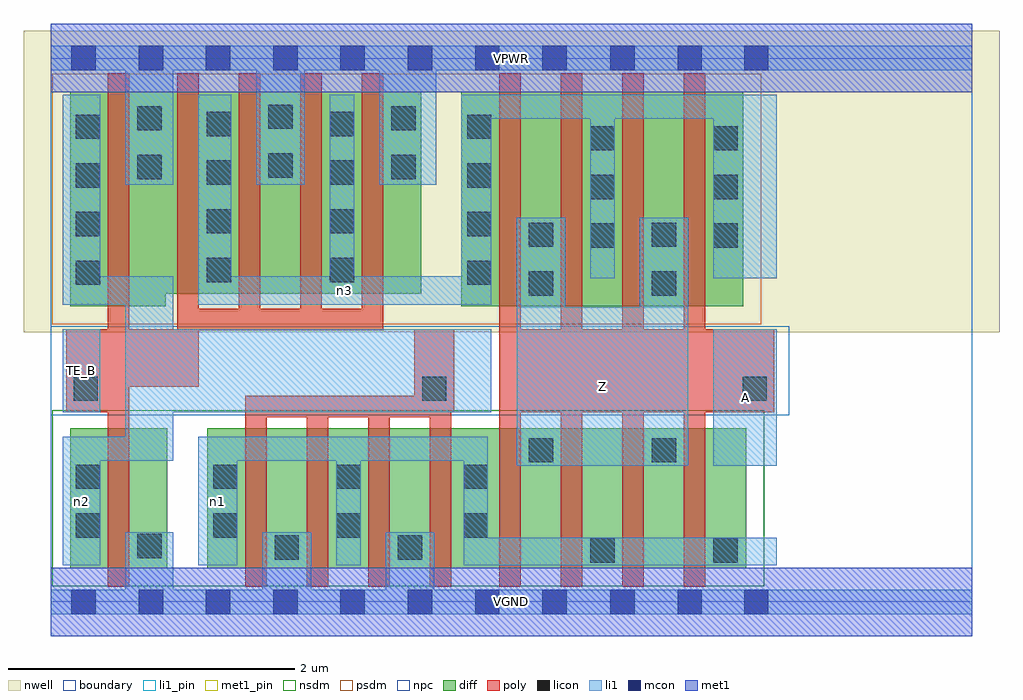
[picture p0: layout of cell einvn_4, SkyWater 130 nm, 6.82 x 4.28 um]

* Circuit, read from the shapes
.subckt einvn_4 A TE_B VGND VPWR Z n1 n2 n3
XM1 VGND TE_B n2 VSUBS sky130_fd_pr__nfet_01v8 w=0.98 l=0.15
XM2 VGND n2 n1 VSUBS sky130_fd_pr__nfet_01v8 w=0.98 l=0.15 m=4
XM3 Z A n1 VSUBS sky130_fd_pr__nfet_01v8 w=0.98 l=0.15 m=4
XM4 VPWR TE_B n2 n4 sky130_fd_pr__pfet_01v8 w=1.5 l=0.15
XM5 n3 TE_B VPWR n4 sky130_fd_pr__pfet_01v8 w=1.41 l=0.15 m=4
XM6 Z A n3 n4 sky130_fd_pr__pfet_01v8 w=1.5 l=0.15 m=4
.ends

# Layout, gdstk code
import gdstk
lib = gdstk.Library(unit=1e-6, precision=1e-09)
def R(c, l, rs):  # rectangles x0, y0, x1, y1
    for r in rs: c.add(gdstk.rectangle(r[:2], r[2:], *l))
def A(c, l, x, y, w, h, nx, ny, dx, dy):  # array of equal rectangles
    R(c, l, [(x+i*dx, y+j*dy, x+i*dx+w, y+j*dy+h) for i in range(nx) for j in range(ny)])
nwell = (64, 20)
diff = (65, 20)
poly = (66, 20)
licon = (66, 44)
li1_pin = (67, 16)
li1 = (67, 20)
mcon = (67, 44)
met1_pin = (68, 16)
met1 = (68, 20)
nsdm = (93, 44)
psdm = (94, 20)
npc = (95, 20)
boundary = (235, 4)

einvn_4 = lib.new_cell('einvn_4')
R(einvn_4, nwell, [(-0.19,1.885,6.63,3.99), (0,1.885,6.44,3.99)])
R(einvn_4, diff, [(0.135,0.235,0.815,1.215), (1.095,0.235,4.86,1.215), (0.135,2.065,0.805,3.565), (2.87,2.065,4.84,3.565), (0.135,2.155,2.59,3.565)])
A(einvn_4, poly, 1.36, 0.105, 0.15, 1.335, 3, 1, 0.43, 0)
A(einvn_4, poly, 3.135, 0.105, 0.15, 3.59, 4, 1, 0.43, 0)
A(einvn_4, poly, 1.315, 1.9, 0.15, 1.795, 3, 1, 0.43, 0)
R(einvn_4, poly, [(0.4,0.105,0.55,3.695), (2.65,0.105,2.8,1.905), (1.36,1.29,2.8,1.44), (0.11,1.325,0.55,1.905), (2.54,1.325,2.82,1.905), (3.135,1.325,5.055,1.905), (0.11,1.505,1.035,1.905), (0.885,1.505,1.035,3.695), (0.885,1.9,2.325,2.05)])
A(einvn_4, licon, 0.175, 2.215, 0.17, 0.17, 1, 4, 0, 0.34)
A(einvn_4, licon, 2.91, 2.215, 0.17, 0.17, 1, 4, 0, 0.34)
A(einvn_4, licon, 1.09, 2.235, 0.17, 0.17, 1, 4, 0, 0.34)
A(einvn_4, licon, 1.95, 2.235, 0.17, 0.17, 1, 4, 0, 0.34)
A(einvn_4, licon, 3.77, 2.475, 0.17, 0.17, 1, 3, 0, 0.34)
A(einvn_4, licon, 4.63, 2.475, 0.17, 0.17, 1, 3, 0, 0.34)
R(einvn_4, licon, [(3.77,0.275,3.94,0.445), (4.63,0.275,4.8,0.445), (1.565,0.295,1.735,0.465), (2.425,0.295,2.595,0.465), (0.605,0.305,0.775,0.475), (0.175,0.45,0.345,0.62), (1.135,0.45,1.305,0.62), (1.995,0.45,2.165,0.62), (2.885,0.45,3.055,0.62), (0.175,0.79,0.345,0.96), (1.135,0.79,1.305,0.96), (1.995,0.79,2.165,0.96), (2.885,0.79,3.055,0.96), (3.34,0.975,3.51,1.145), (4.2,0.975,4.37,1.145), (0.16,1.405,0.33,1.575), (2.595,1.405,2.765,1.575), (4.835,1.405,5.005,1.575), (3.34,2.14,3.51,2.31), (4.2,2.14,4.37,2.31), (3.34,2.48,3.51,2.65), (4.2,2.48,4.37,2.65), (0.605,2.955,0.775,3.125), (2.38,2.955,2.55,3.125), (1.52,2.965,1.69,3.135), (0.605,3.295,0.775,3.465), (2.38,3.295,2.55,3.465), (1.52,3.305,1.69,3.475)])
R(einvn_4, li1_pin, [(3.255,0.95,4.455,2.06), (4.63,0.95,5.075,1.905), (0.085,1.325,0.345,1.905)])
R(einvn_4, li1, [(0,-0.085,6.44,0.085), (0.52,-0.085,0.855,0.485), (1.48,-0.085,1.82,0.485), (2.34,-0.085,2.68,0.485), (0.085,0.255,0.345,1.155), (1.03,0.255,1.305,1.155), (1.995,0.255,2.165,1.155), (2.885,0.255,3.055,1.155), (2.885,0.255,5.075,0.45), (3.255,0.95,4.455,2.06), (3.255,0.95,3.595,2.685), (4.115,0.95,4.455,2.685), (4.63,0.95,5.075,1.905), (0.085,0.985,0.855,1.155), (0.52,0.985,0.855,2.275), (1.03,0.985,3.055,1.155), (0.085,1.325,0.345,1.905), (0.52,1.325,3.08,1.905), (0.085,2.075,0.345,3.545), (0.085,2.075,0.855,2.275), (1.03,2.075,3.08,2.275), (1.03,2.075,1.26,3.545), (1.95,2.075,2.12,3.545), (2.87,2.075,3.08,3.545), (3.77,2.26,3.94,3.545), (4.63,2.26,5.075,3.545), (0.52,2.915,0.855,3.885), (1.435,2.915,1.775,3.885), (2.295,2.915,2.695,3.885), (2.87,3.375,5.075,3.545), (0,3.715,6.44,3.885)])
A(einvn_4, mcon, 0.145, -0.085, 0.17, 0.17, 8, 2, 0.47, 3.8)
R(einvn_4, mcon, [(3.91,-0.085,4.08,0.085), (4.38,-0.085,4.55,0.085), (4.845,-0.085,5.015,0.085), (3.91,3.715,4.08,3.885), (4.38,3.715,4.55,3.885), (4.845,3.715,5.015,3.885)])
R(einvn_4, met1_pin, [(0,-0.24,6.44,0.24), (0,3.56,6.44,4.04)])
R(einvn_4, met1, [(0,-0.24,6.44,0.24), (0,3.56,6.44,4.04)])
R(einvn_4, nsdm, [(0.01,0.11,4.985,1.34)])
R(einvn_4, psdm, [(0.01,1.94,4.965,3.69)])
R(einvn_4, npc, [(0,1.305,5.16,1.925)])
R(einvn_4, boundary, [(0,0,6.44,3.8)])
einvn_4.add(gdstk.Label('A', (4.852,1.427), layer=67, texttype=5))
einvn_4.add(gdstk.Label('TE_B', (0.215,1.615), layer=67, texttype=5))
einvn_4.add(gdstk.Label('Z', (3.855,1.505), layer=67, texttype=5))
einvn_4.add(gdstk.Label('n1', (1.167,0.705), layer=67, texttype=5))
einvn_4.add(gdstk.Label('n2', (0.215,0.705), layer=67, texttype=5))
einvn_4.add(gdstk.Label('n3', (2.055,2.175), layer=67, texttype=5))
einvn_4.add(gdstk.Label('VPWR', (3.22,3.8), layer=68, texttype=5))
einvn_4.add(gdstk.Label('VGND', (3.22,0), layer=68, texttype=5))
einvn_4.add(gdstk.Label('A', (4.852,1.427), layer=67, texttype=16))
einvn_4.add(gdstk.Label('TE_B', (0.215,1.615), layer=67, texttype=16))
einvn_4.add(gdstk.Label('Z', (3.855,1.505), layer=67, texttype=16))
einvn_4.add(gdstk.Label('VPWR', (3.22,3.8), layer=68, texttype=16))
einvn_4.add(gdstk.Label('VGND', (3.22,0), layer=68, texttype=16))

lib.write_gds('einvn_4.gds')
